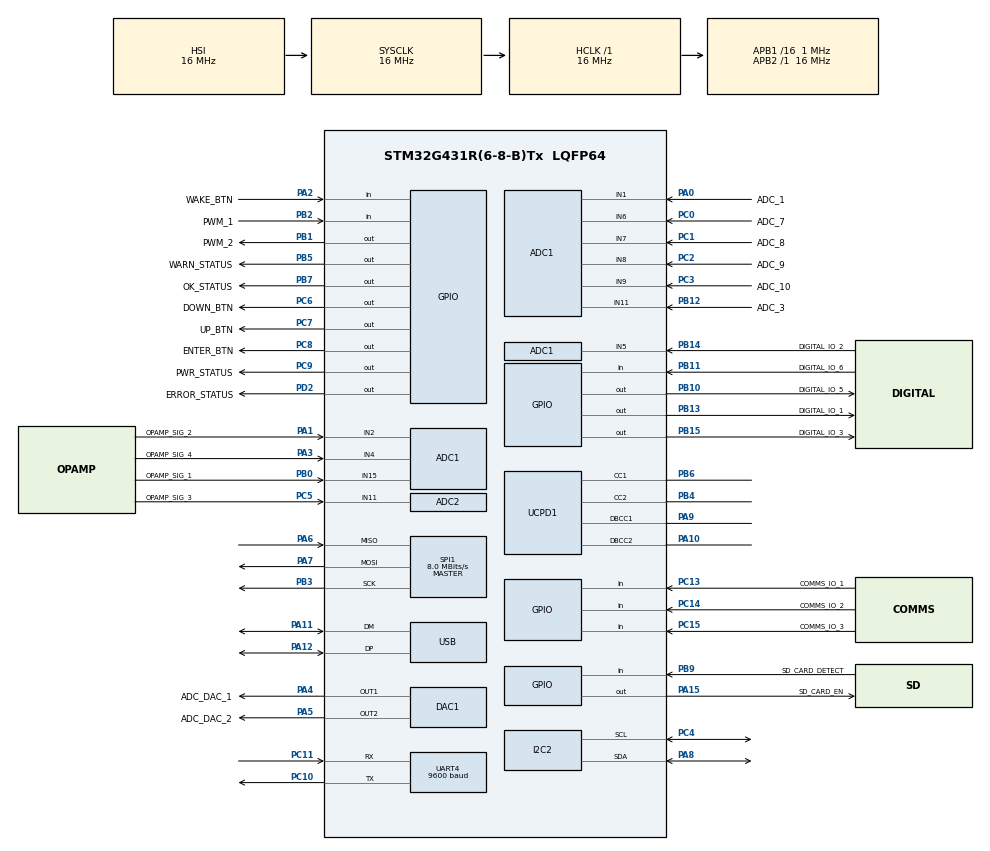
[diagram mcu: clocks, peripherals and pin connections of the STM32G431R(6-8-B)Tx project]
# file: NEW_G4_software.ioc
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ADC1.Channel-0\#ChannelRegularConversion=ADC_CHANNEL_1
ADC1.NbrOfConversionFlag=1
ADC1.OffsetNumber-0\#ChannelRegularConversion=ADC_OFFSET_NONE
ADC1.Rank-0\#ChannelRegularConversion=1
ADC1.SamplingTime-0\#ChannelRegularConversion=ADC_SAMPLETIME_2CYCLES_5
ADC1.master=1
ADC2.Channel-0\#ChannelRegularConversion=ADC_CHANNEL_11
ADC2.NbrOfConversionFlag=1
ADC2.OffsetNumber-0\#ChannelRegularConversion=ADC_OFFSET_NONE
ADC2.Rank-0\#ChannelRegularConversion=1
ADC2.SamplingTime-0\#ChannelRegularConversion=ADC_SAMPLETIME_2CYCLES_5
DAC1.DAC_Channel-DAC_OUT2=DAC_CHANNEL_2
I2C2.Timing=0x00000103
LPTIM1.ClockPrescaler=LPTIM_PRESCALER_DIV64
Mcu.Family=STM32G4
Mcu.Name=STM32G431R(6-8-B)Tx
Mcu.Package=LQFP64
NVIC.PriorityGroup=NVIC_PRIORITYGROUP_4
NVIC.USB_LP_IRQn=true\:0\:0\:false\:false\:true\:false\:true\:true
PA0.GPIO_Label=ADC_1
PA0.Mode=IN1-Single-Ended
PA0.Signal=ADC1_IN1
PA1.GPIO_Label=OPAMP_SIG_2
PA1.Mode=IN2-Single-Ended
PA1.Signal=ADC1_IN2
PA10.Mode=EnableDeadBattery
PA10.Signal=UCPD1_DBCC2
PA11.Mode=Device
PA11.Signal=USB_DM
PA12.Mode=Device
PA12.Signal=USB_DP
PA13.Mode=Serial_Wire
PA13.Signal=SYS_JTMS-SWDIO
PA14.Mode=Serial_Wire
PA14.Signal=SYS_JTCK-SWCLK
PA15.GPIO_Label=SD_CARD_EN
PA15.GPIO_ModeDefaultOutputPP=GPIO_MODE_OUTPUT_PP
PA15.GPIO_PuPd=GPIO_NOPULL
PA15.Signal=GPIO_Output
PA2.GPIO_Label=WAKE_BTN
PA2.Signal=GPIO_Input
PA3.GPIO_Label=OPAMP_SIG_4
PA3.Mode=IN4-Single-Ended
PA3.Signal=ADC1_IN4
PA4.GPIO_Label=ADC_DAC_1
PA4.Signal=COMP_DAC11_group
PA5.GPIO_Label=ADC_DAC_2
PA5.Signal=COMP_DAC12_group
PA6.Mode=Full_Duplex_Master
PA6.Signal=SPI1_MISO
PA7.Mode=Full_Duplex_Master
PA7.Signal=SPI1_MOSI
PA8.Mode=I2C
PA8.Signal=I2C2_SDA
PA9.Mode=EnableDeadBattery
PA9.Signal=UCPD1_DBCC1
PB0.GPIO_Label=OPAMP_SIG_1
PB0.Mode=IN15-Single-Ended
PB0.Signal=ADC1_IN15
PB1.GPIO_Label=PWM_2
PB1.Signal=GPIO_Output
PB10.GPIO_Label=DIGITAL_IO_5
PB10.Signal=GPIO_Output
PB11.GPIO_Label=DIGITAL_IO_6
PB11.Signal=GPIO_Input
PB12.GPIO_Label=ADC_3
PB12.Mode=IN11-Single-Ended
PB12.Signal=ADC1_IN11
PB13.GPIO_Label=DIGITAL_IO_1
PB13.Signal=GPIO_Output
PB14.GPIO_Label=DIGITAL_IO_2
PB14.Mode=IN5-Single-Ended
PB14.Signal=ADC1_IN5
PB15.GPIO_Label=DIGITAL_IO_3
PB15.Signal=GPIO_Output
PB2.GPIO_Label=PWM_1
PB2.Signal=GPIO_Input
PB3.Signal=SharedStack_PB3
PB3.Stacked=true
PB4.Mode=Sink_AllSignals
PB4.Signal=UCPD1_CC2
PB5.GPIO_Label=WARN_STATUS
PB5.GPIO_PuPd=GPIO_NOPULL
PB5.Signal=GPIO_Output
PB6.Mode=Sink_AllSignals
PB6.Signal=UCPD1_CC1
PB7.GPIO_Label=OK_STATUS
PB7.GPIO_ModeDefaultOutputPP=GPIO_MODE_OUTPUT_PP
PB7.GPIO_PuPd=GPIO_NOPULL
PB7.PinState=GPIO_PIN_RESET
PB7.Signal=GPIO_Output
PB9.GPIO_Label=SD_CARD_DETECT
PB9.Signal=GPIO_Input
PC0.GPIO_Label=ADC_7
PC0.Mode=IN6-Single-Ended
PC0.Signal=ADC1_IN6
PC1.GPIO_Label=ADC_8
PC1.Mode=IN7-Single-Ended
PC1.Signal=ADC1_IN7
PC10.Mode=Asynchronous
PC10.Signal=UART4_TX
PC11.Mode=Asynchronous
PC11.Signal=UART4_RX
PC13.GPIO_Label=COMMS_IO_1
PC13.Signal=GPIO_Input
PC14-OSC32_IN.GPIO_Label=COMMS_IO_2
PC14-OSC32_IN.Signal=GPIO_Input
PC15-OSC32_OUT.GPIO_Label=COMMS_IO_3
PC15-OSC32_OUT.Signal=GPIO_Input
PC2.GPIO_Label=ADC_9
PC2.Mode=IN8-Single-Ended
PC2.Signal=ADC1_IN8
PC3.GPIO_Label=ADC_10
PC3.Mode=IN9-Single-Ended
PC3.Signal=ADC1_IN9
PC4.Mode=I2C
PC4.Signal=I2C2_SCL
PC5.GPIO_Label=OPAMP_SIG_3
PC5.Mode=IN11-Single-Ended
PC5.Signal=ADC2_IN11
PC6.GPIO_Label=DOWN_BTN
PC6.Signal=GPIO_Output
PC7.GPIO_Label=UP_BTN
PC7.Signal=GPIO_Output
PC8.GPIO_Label=ENTER_BTN
PC8.Signal=GPIO_Output
PC9.GPIO_Label=PWR_STATUS
PC9.Signal=GPIO_Output
PD2.GPIO_Label=ERROR_STATUS
PD2.Signal=GPIO_Output
PF0-OSC_IN.Mode=HSE-External-Oscillator
PF0-OSC_IN.Signal=RCC_OSC_IN
PF1-OSC_OUT.Mode=HSE-External-Oscillator
PF1-OSC_OUT.Signal=RCC_OSC_OUT
ProjectManager.HeapSize=0x200
ProjectManager.StackSize=0x400
ProjectManager.TargetToolchain=STM32CubeIDE
RCC.AHBFreq_Value=16000000
RCC.APB1CLKDivider=RCC_HCLK_DIV16
RCC.APB1Freq_Value=1000000
RCC.APB1TimFreq_Value=2000000
RCC.APB2Freq_Value=16000000
RCC.APB2TimFreq_Value=16000000
RCC.CortexFreq_Value=16000000
RCC.EXTERNAL_CLOCK_VALUE=12288000
RCC.HCLKFreq_Value=16000000
RCC.HSE_VALUE=8000000
RCC.HSI48_VALUE=48000000
RCC.HSI_VALUE=16000000
RCC.LSE_VALUE=32768
RCC.PLLN=12
RCC.PLLQ=RCC_PLLQ_DIV4
RCC.SYSCLKFreq_VALUE=16000000
RCC.USBFreq_Value=48000000
RCC.VCOOutputFreq_Value=192000000
RTC.WakeUpClock-WakeUp=RTC_WAKEUPCLOCK_CK_SPRE_17BITS
RTC.WakeUpCounter-WakeUp=65535
SH.COMP_DAC11_group.0=DAC1_OUT1,DAC_OUT1
SH.COMP_DAC12_group.0=DAC1_OUT2,DAC_OUT2
SH.SharedStack_PB3.0=SPI1_SCK,Full_Duplex_Master
SH.SharedStack_PB3.1=SYS_JTDO-SWO
SPI1.CalculateBaudRate=8.0 MBits/s
SPI1.Direction=SPI_DIRECTION_2LINES
SPI1.Mode=SPI_MODE_MASTER
SPI1.VirtualType=VM_MASTER
UART4.BaudRate=9600
USB_DEVICE.CLASS_NAME_FS=CDC
USB_DEVICE.VirtualMode=Cdc
USB_DEVICE.VirtualModeFS=Cdc_FS
VP_ADC1_Vbat_Input.Mode=IN-Vbat
VP_LPTIM1_VS_LPTIM_counterModeInternalClock.Mode=Counts__internal_clock_event_00
VP_RTC_VS_RTC_Activate.Mode=RTC_Enabled
VP_RTC_VS_RTC_WakeUp_intern.Mode=WakeUp
VP_SYS_VS_DBSignals.Mode=DisableDeadBatterySignals
VP_USB_DEVICE_VS_USB_DEVICE_CDC_FS.Mode=CDC_FS
board=custom

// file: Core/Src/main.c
/* USER CODE BEGIN Header */
/**
  ******************************************************************************
  * @file           : main.c
  * @brief          : Main program body
  ******************************************************************************
  * @attention
  *
  * Copyright (c) 2024 STMicroelectronics.
  * All rights reserved.
  *
  * This software is licensed under terms that can be found in the LICENSE file
  * in the root directory of this software component.
  * If no LICENSE file comes with this software, it is provided AS-IS.
  *
  ******************************************************************************
  */
/* USER CODE END Header */
#include "main.h"
#include "adc.h"
#include "dac.h"
#include "i2c.h"
#include "rtc.h"
#include "spi.h"
#include "usart.h"
#include "ucpd.h"
#include "usb_device.h"
#include "gpio.h"

/* USER CODE BEGIN PV */
#define MCP9804_ADDR 0b0011000 // the last 3 digits change for each pin
#define MCP9804_REG_TEMP 0x05

uint16_t Size = 8;

/*FATFS SDFatFs;    // File system object for SD card logical drive
FIL MyFile;       // File object
char SDPath[4];   // SD card logical drive path*/
/* USER CODE BEGIN PV */
//static void MX_SDMMC1_SD_Init(void);

int32_t readMCP9804Temp(uint8_t tempRegAddr) {
	uint8_t tempData[2];
	int32_t tempC = -100;
	uint8_t store = 0b00000101;
	HAL_I2C_Master_Transmit(&hi2c2, MCP9804_ADDR, &store, 1, HAL_MAX_DELAY);
	if (HAL_I2C_Master_Receive(&hi2c2, MCP9804_ADDR, tempData, 2, HAL_MAX_DELAY) != HAL_OK){
		HAL_GPIO_WritePin(ERROR_STATUS_GPIO_Port, ERROR_STATUS_Pin, GPIO_PIN_RESET); // Turn on error LED
	}
	uint16_t rawTemp = (tempData[0] << 8) | tempData[1];
	rawTemp &= 0x0FFF;  // Clear flags and keep 12 bits
	tempC = rawTemp & 0x0FFF;
	tempC /= 16.0;
	if (rawTemp & 0x1000) {  // Check sign bit
	  tempC -= 256.0;
	}
    return tempC;
}

uint8_t UpperByte, LowerByte;

/* USER CODE END PV */

void SystemClock_Config(void);

int main(void)
{

  /* MCU Configuration--------------------------------------------------------*/

  /* Reset of all peripherals, Initializes the Flash interface and the Systick. */
  HAL_Init();

  /* Configure the system clock */
  SystemClock_Config();

  /* Initialize all configured peripherals */
  MX_GPIO_Init();
  MX_ADC1_Init();
  MX_ADC2_Init();
  MX_DAC1_Init();
  MX_SPI1_Init();
  MX_UCPD1_Init();
  MX_I2C2_Init();
  MX_RTC_Init();
  MX_USB_Device_Init();
  MX_UART4_Init();

  __HAL_RCC_LPTIM1_CLK_ENABLE();

  // Create LPTIM handle
  LPTIM_HandleTypeDef hlptim;
  hlptim.Instance = LPTIM1;

  // Configure LPTIM for continuous mode, source from internal clock
  hlptim.Init.Clock.Source = LPTIM_CLOCKSOURCE_APBCLOCK_LPOSC;
  hlptim.Init.Clock.Prescaler = LPTIM_PRESCALER_DIV1; // No prescaling
  hlptim.Init.CounterSource = LPTIM_COUNTERSOURCE_INTERNAL;
  hlptim.Init.Trigger.Source = LPTIM_TRIGSOURCE_SOFTWARE; // Software trigger
  hlptim.Init.OutputPolarity = LPTIM_OUTPUTPOLARITY_HIGH;
  hlptim.Init.UpdateMode = LPTIM_UPDATE_IMMEDIATE;
  //hlptim.Init.RepetitionCounter = 0;  // No repetition

  // Initialize LPTIM
  HAL_LPTIM_Init(&hlptim);
  /* USER CODE BEGIN 2 */
  uint32_t status = HAL_ERROR;

    int num_bytes = 4;

    uint8_t dataToSend[4];
    dataToSend[0] = 0xFF;// Example data
    dataToSend[1] = 0x5;// Example data
    dataToSend[2] = 0xF0;// Example data
    dataToSend[3] = 0xF;// Example data

    //HAL_StatusTypeDef sts = HAL_OK;

    HAL_GPIO_WritePin(OK_STATUS_GPIO_Port, OK_STATUS_Pin, GPIO_PIN_SET); // Turn off success LED
    HAL_GPIO_WritePin(WARN_STATUS_GPIO_Port, WARN_STATUS_Pin, GPIO_PIN_SET); // Turn off error LED
    HAL_GPIO_WritePin(ERROR_STATUS_GPIO_Port, ERROR_STATUS_Pin, GPIO_PIN_SET); // Turn off error LED

    if (HAL_I2C_Init(&hi2c2) != HAL_OK) {
			// Initialization error
	  HAL_GPIO_WritePin(ERROR_STATUS_GPIO_Port, ERROR_STATUS_Pin, GPIO_PIN_RESET); // Turn on status LED
		}
	uint8_t tempRegAddr = 0x05;
    uint8_t buffer[255];
    char buff[128];

    uint8_t initials = 0b00000010;
    HAL_I2C_Master_Transmit(&hi2c2, MCP9804_ADDR, &initials, 1, HAL_MAX_DELAY);

  /* USER CODE END 2 */

  /* Infinite loop */
  /* USER CODE BEGIN WHILE */
    while (1)
    {
		HAL_Delay(100);
		//HAL_GPIO_WritePin(ERROR_STATUS_GPIO_Port, ERROR_STATUS_Pin, GPIO_PIN_RESET);
		int32_t tempC = readMCP9804Temp(tempRegAddr);
		dataToSend[0] = (tempC >> 24) & 0xFF;
		dataToSend[1] = (tempC >> 16) & 0xFF;
		dataToSend[2] = (tempC >> 8) & 0xFF;
		dataToSend[3] = tempC & 0xFF;
		int amount_fmted = snprintf(buff, sizeof(buff), "temp %ld \r\n", tempC);
		switch (CDC_Transmit_FS((uint8_t*)buff, amount_fmted)){
		case USBD_OK: // if the usb serial is ok it will blink green
			HAL_GPIO_TogglePin(OK_STATUS_GPIO_Port, OK_STATUS_Pin);
			break;
		case USBD_BUSY: // if the device is busy i.e. plugged in but not monitoring it will blink blue
			HAL_GPIO_TogglePin(WARN_STATUS_GPIO_Port, WARN_STATUS_Pin);
			break;
		case USBD_FAIL: // if the device can support USB coms device it will blink red
			HAL_GPIO_TogglePin(ERROR_STATUS_GPIO_Port, ERROR_STATUS_Pin);
			break;
		default:
			break;
		}

    	HAL_Delay(100);
		//HAL_GPIO_WritePin(ERROR_STATUS_GPIO_Port, ERROR_STATUS_Pin, GPIO_PIN_RESET);
    	status = HAL_UART_Transmit(&huart4,(uint8_t*)buff, amount_fmted, HAL_MAX_DELAY);
		if (status == HAL_OK) {
			//HAL_GPIO_WritePin(OK_STATUS_GPIO_Port, OK_STATUS_Pin, GPIO_PIN_RESET); // Turn on success LED
			//HAL_GPIO_WritePin(WARN_STATUS_GPIO_Port, WARN_STATUS_Pin, GPIO_PIN_SET); // Turn of error LED
			HAL_GPIO_WritePin(ERROR_STATUS_GPIO_Port, ERROR_STATUS_Pin, GPIO_PIN_SET); // Turn of error LED
		} else {
			HAL_GPIO_WritePin(ERROR_STATUS_GPIO_Port, ERROR_STATUS_Pin, GPIO_PIN_RESET); // Turn on error LED
			//HAL_GPIO_WritePin(WARN_STATUS_GPIO_Port, WARN_STATUS_Pin, GPIO_PIN_SET); // Turn of error LED
			//HAL_GPIO_WritePin(OK_STATUS_GPIO_Port, OK_STATUS_Pin, GPIO_PIN_SET); // Turn of success LED
		}

		//HAL_GPIO_WritePin(ERROR_STATUS_GPIO_Port, ERROR_STATUS_Pin, GPIO_PIN_SET);

		//HAL_GPIO_WritePin(ERROR_STATUS_GPIO_Port, ERROR_STATUS_Pin, GPIO_PIN_SET);

    	/*HAL_Delay(100);
    	int amount_of_bytes = snprintf((char*) buffer, sizeof(buffer), "Temp:%ld \r\n" , tempC);
    	  // int amount_of_bytes = snprintf((char*) spi_buf, sizeof(spi_buf), "%d    ", count++);
    	  // HAL_GPIO_WritePin(COMMS_EN_1_GPIO_Port, COMMS_EN_1_Pin, GPIO_PIN_RESET);
    	  // int status = HAL_SPI_Transmit(&hspi3, spi_buf, amount_of_bytes+4, 1);
    	  // int status = HAL_SPI_Transmit(&hspi3, &count, 1, 1);
    	  // HAL_GPIO_WritePin(COMMS_EN_1_GPIO_Port, COMMS_EN_1_Pin, GPIO_PIN_SET);
    	  // USB_Print("count : %d", count++);

    	  switch (CDC_Transmit_FS((uint8_t*)buffer, amount_of_bytes)){
    	  case USBD_OK: // if the usb serial is ok it will blink green
    	    HAL_GPIO_TogglePin(OK_STATUS_GPIO_Port, OK_STATUS_Pin);
    	    break;
    	   case USBD_BUSY: // if the device is busy i.e. plugged in but not monitoring it will blink blue
    	    HAL_GPIO_TogglePin(WARN_STATUS_GPIO_Port, WARN_STATUS_Pin);
    	    break;
    	  case USBD_FAIL: // if the device can support USB coms device it will blink red
    	    HAL_GPIO_TogglePin(ERROR_STATUS_GPIO_Port, ERROR_STATUS_Pin);
    	    break;
    	  default:
    	    break;
    	  }*/

      }
}

void SystemClock_Config(void)
{
  RCC_OscInitTypeDef RCC_OscInitStruct = {0};
  RCC_ClkInitTypeDef RCC_ClkInitStruct = {0};

  /** Configure the main internal regulator output voltage
  */
  HAL_PWREx_ControlVoltageScaling(PWR_REGULATOR_VOLTAGE_SCALE1);

  /** Initializes the RCC Oscillators according to the specified parameters
  * in the RCC_OscInitTypeDef structure.
  */
  RCC_OscInitStruct.OscillatorType = RCC_OSCILLATORTYPE_HSI|RCC_OSCILLATORTYPE_LSI;
  RCC_OscInitStruct.HSIState = RCC_HSI_ON;
  RCC_OscInitStruct.HSICalibrationValue = RCC_HSICALIBRATION_DEFAULT;
  RCC_OscInitStruct.LSIState = RCC_LSI_ON;
  RCC_OscInitStruct.PLL.PLLState = RCC_PLL_ON;
  RCC_OscInitStruct.PLL.PLLSource = RCC_PLLSOURCE_HSI;
  RCC_OscInitStruct.PLL.PLLM = RCC_PLLM_DIV1;
  RCC_OscInitStruct.PLL.PLLN = 12;
  RCC_OscInitStruct.PLL.PLLP = RCC_PLLP_DIV2;
  RCC_OscInitStruct.PLL.PLLQ = RCC_PLLQ_DIV4;
  RCC_OscInitStruct.PLL.PLLR = RCC_PLLR_DIV2;
  if (HAL_RCC_OscConfig(&RCC_OscInitStruct) != HAL_OK)
  {
    Error_Handler();
  }

  /** Initializes the CPU, AHB and APB buses clocks
  */
  RCC_ClkInitStruct.ClockType = RCC_CLOCKTYPE_HCLK|RCC_CLOCKTYPE_SYSCLK
                              |RCC_CLOCKTYPE_PCLK1|RCC_CLOCKTYPE_PCLK2;
  RCC_ClkInitStruct.SYSCLKSource = RCC_SYSCLKSOURCE_HSI;
  RCC_ClkInitStruct.AHBCLKDivider = RCC_SYSCLK_DIV1;
  RCC_ClkInitStruct.APB1CLKDivider = RCC_HCLK_DIV16;
  RCC_ClkInitStruct.APB2CLKDivider = RCC_HCLK_DIV1;

  if (HAL_RCC_ClockConfig(&RCC_ClkInitStruct, FLASH_LATENCY_0) != HAL_OK)
  {
    Error_Handler();
  }
}

void Error_Handler(void)
{
  __disable_irq();
  while (1)
  {
  }
}
